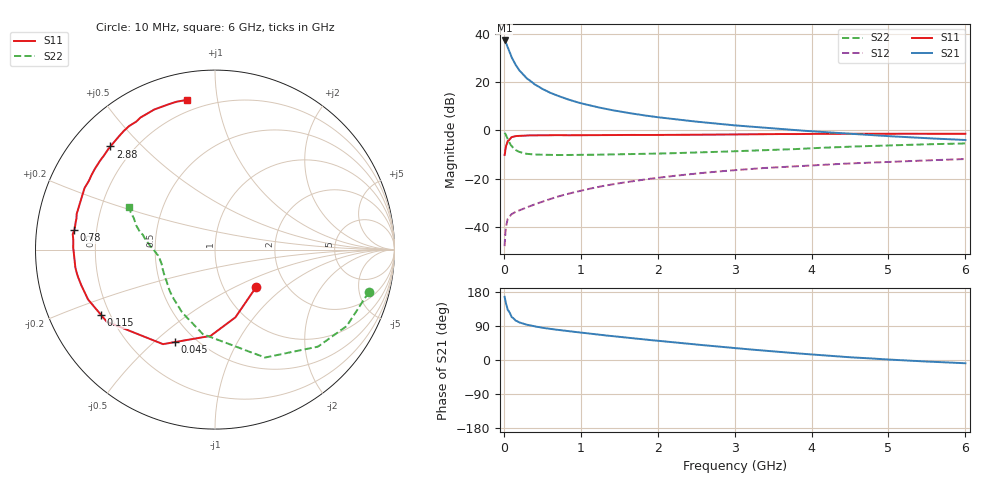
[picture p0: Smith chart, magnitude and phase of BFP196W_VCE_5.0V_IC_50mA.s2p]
! Infineon Technologies  Discrete & RF Semiconductors
! BFP196W
! VCE = 5.0 V,  IC =  50mA
! Common Emitter S-Parameters:  Jan 2016
# GHz  S  MA  R  50
!  f  S11  S21  S12  S22
! GHz  MAG  ANG  MAG  ANG  MAG  ANG  MAG  ANG
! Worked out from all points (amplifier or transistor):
!   210 points, 10 MHz to 6 GHz, reference 50 ohm
!   highest |S21| = 37.2 dB at 10 MHz (marker M1)
!   |S21| within 3 dB of that: start of sweep to 52.08 MHz
!   unconditionally stable (mu >= 1): 668.4 MHz to 3.378 GHz; 3.753 GHz to 3.819 GHz
!   at 185 MHz: K = 0.54, MSG = 29.5 dB, |S12| = -33.4 dB
!   at 1.52 GHz: K = 1.11, MAG = 12.8 dB, |S12| = -21.8 dB
!   at 6 GHz: K = 0.95, MSG = 3.9 dB, |S12| = -11.9 dB
!   S11 on the Smith chart (normalised r, x): 10 MHz: 1.42, -0.65; 45 MHz: 0.39, -0.59; 115 MHz: 0.17, -0.26; 780 MHz: 0.12, +0.07; 2.88 GHz: 0.12, +0.41; 6 GHz: 0.14, +0.82
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0.01  0.3097 -41.9  72.53 166.6  0.004 76.7  0.8894 -15.4
0.02  0.394 -73.2  69.74 156.8  0.0076 67.1  0.8486 -30.1
0.03  0.4813 -92.9  64.18 147.4  0.0104 62.2  0.7882 -43.3
0.045  0.5615 -113.4  54.85 136.9  0.0135 52.1  0.6842 -59.0
0.05  0.6011 -118.8  52.24 132.6  0.0146 49.7  0.6631 -65.1
0.1  0.7246 -146.3  32.66 113.8  0.0184 40.4  0.4762 -98.1
0.115  0.7316 -150.1  29.68 111.6  0.019 39.8  0.447 -103.2
0.15  0.7601 -158.6  22.99 104.4  0.0204 38.5  0.3956 -117.5
0.195  0.7695 -164.5  18.07 99.9  0.0218 40.0  0.3612 -128.6
0.24  0.7779 -168.6  14.9 96.5  0.0233 42.0  0.3441 -136.3
0.3  0.7844 -172.7  11.86 93.0  0.0255 44.4  0.3262 -144.4
0.4  0.7859 -177.3  8.961 88.6  0.0292 48.8  0.3166 -152.3
0.5  0.7901 179.1  7.215 85.1  0.0332 52.6  0.3127 -157.7
0.78  0.7915 172.0  4.672 77.6  0.046 58.4  0.3081 -165.5
1.02  0.7918 167.0  3.577 72.0  0.0572 60.1  0.311 -169.2
1.4  0.797 159.9  2.633 63.2  0.0754 60.5  0.3164 -172.9
2.02  0.8033 149.2  1.854 50.4  0.105 57.7  0.33 -177.2
2.88  0.8184 135.4  1.322 33.8  0.1445 51.1  0.3631 176.4
3.1  0.8238 132.0  1.232 29.8  0.1539 49.0  0.3742 174.4
4.1  0.8452 118.2  0.936 13.3  0.1921 40.6  0.4329 166.3
5.1  0.8499 107.7  0.743 0.2  0.2253 32.5  0.4909 158.2
6  0.8487 100.5  0.631 -8.6  0.2548 26.3  0.5356 153.6
